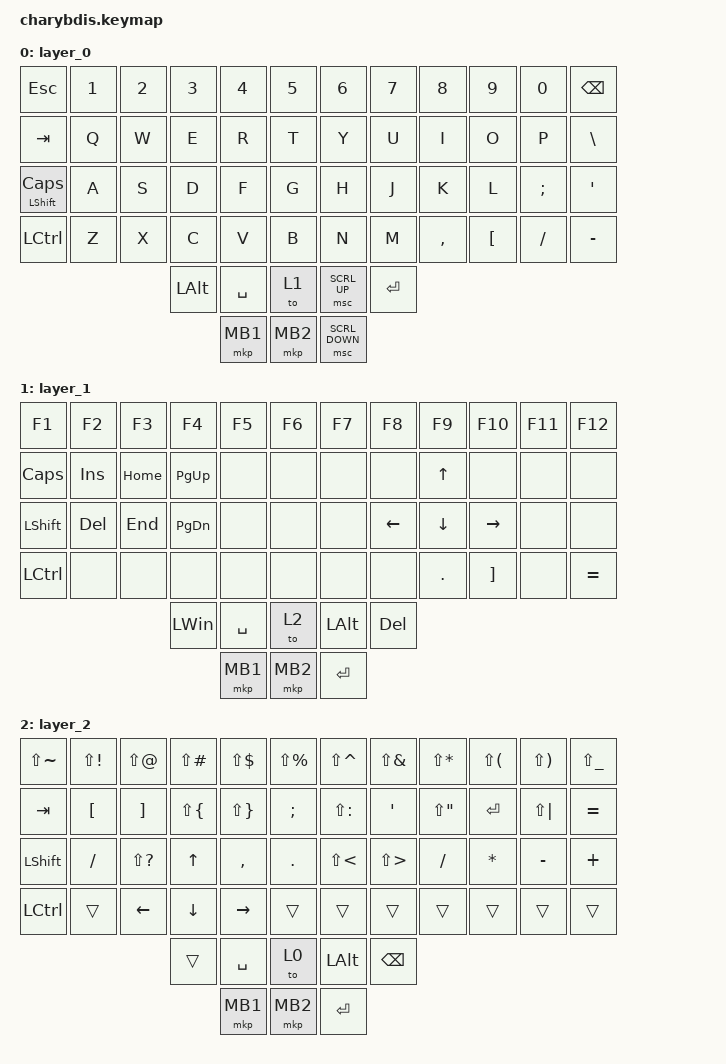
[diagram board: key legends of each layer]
#include <dt-bindings/zmk/mouse.h>
#include <behaviors.dtsi>
#include <dt-bindings/zmk/keys.h>
#include <dt-bindings/zmk/pointing.h>

&lt {
    tapping-term-ms = <200>;
    flavor = "balanced";
    quick-tap-ms = <150>;
};

/ {
    keymap {
        compatible = "zmk,keymap";

        layer_0 {
            bindings = <
&kp ESC                  &kp N1  &kp N2  &kp N3        &kp N4     &kp N5      &kp N6          &kp N7     &kp N8     &kp N9            &kp N0    &kp BACKSPACE
&kp TAB                  &kp Q   &kp W   &kp E         &kp R      &kp T       &kp Y           &kp U      &kp I      &kp O             &kp P     &kp BSLH
&mt LEFT_SHIFT CAPSLOCK  &kp A   &kp S   &kp D         &kp F      &kp G       &kp H           &kp J      &kp K      &kp L             &kp SEMI  &kp SQT
&kp LCTRL                &kp Z   &kp X   &kp C         &kp V      &kp B       &kp N           &kp M      &kp COMMA  &kp LEFT_BRACKET  &kp FSLH  &kp MINUS
                                         &kp LEFT_ALT  &kp SPACE  &to 1       &msc SCRL_UP    &kp ENTER                                                   
                                                       &mkp MB1   &mkp MB2    &msc SCRL_DOWN                                                                
            >;

            trackball-bindings = <&tmv_coarse>;
        };

        layer_1 {
            bindings = <
&kp F1          &kp F2      &kp F3    &kp F4        &kp F5     &kp F6      &kp F7     &kp F8      &kp F9      &kp F10            &kp F11  &kp F12
&kp CAPS        &kp INS     &kp HOME  &kp PG_UP     &none      &none       &none      &none       &kp UP      &none              &none    &none
&kp LEFT_SHIFT  &kp DELETE  &kp END   &kp PG_DN     &none      &none       &none      &kp LEFT    &kp DOWN    &kp RIGHT          &none    &none
&kp LCTRL       &none       &none     &none         &none      &none       &none      &none       &kp PERIOD  &kp RIGHT_BRACKET  &none    &kp EQUAL
                                      &kp LEFT_WIN  &kp SPACE  &to 2       &kp LALT   &kp DELETE                                                      
                                                    &mkp MB1   &mkp MB2    &kp ENTER                                                                
            >;

            trackball-bindings = <&tsl>;
        };

        layer_2 {
            bindings = <
&kp LS(TILDE)   &kp LS(EXCL)  &kp LS(AT)     &kp LS(POUND)  &kp LS(DLLR)  &kp LS(PRCNT)    &kp LS(CARET)  &kp LS(AMPS)   &kp LS(STAR)  &kp LS(LPAR)  &kp LS(RPAR)  &kp LS(UNDER)
&kp TAB         &kp LBKT      &kp RBKT       &kp LS(LBRC)   &kp LS(RBRC)  &kp SEMI         &kp LS(COLON)  &kp SQT        &kp LS(DQT)   &kp RET       &kp LS(PIPE)  &kp EQUAL
&kp LEFT_SHIFT  &kp FSLH      &kp LS(QMARK)  &kp UP         &kp COMMA     &kp DOT          &kp LS(LT)     &kp LS(GT)     &kp FSLH      &kp STAR      &kp MINUS     &kp PLUS
&kp LCTRL       &trans        &kp LEFT       &kp DOWN       &kp RIGHT     &trans           &trans         &trans         &trans        &trans        &trans        &trans
                                             &trans         &kp SPACE     &to 0            &kp LEFT_ALT   &kp BACKSPACE                                                     
                                                            &mkp MB1      &mkp MB2         &kp RET                                                                    
            >;

            trackball-bindings = <&tsl>;
        };
    };
};
